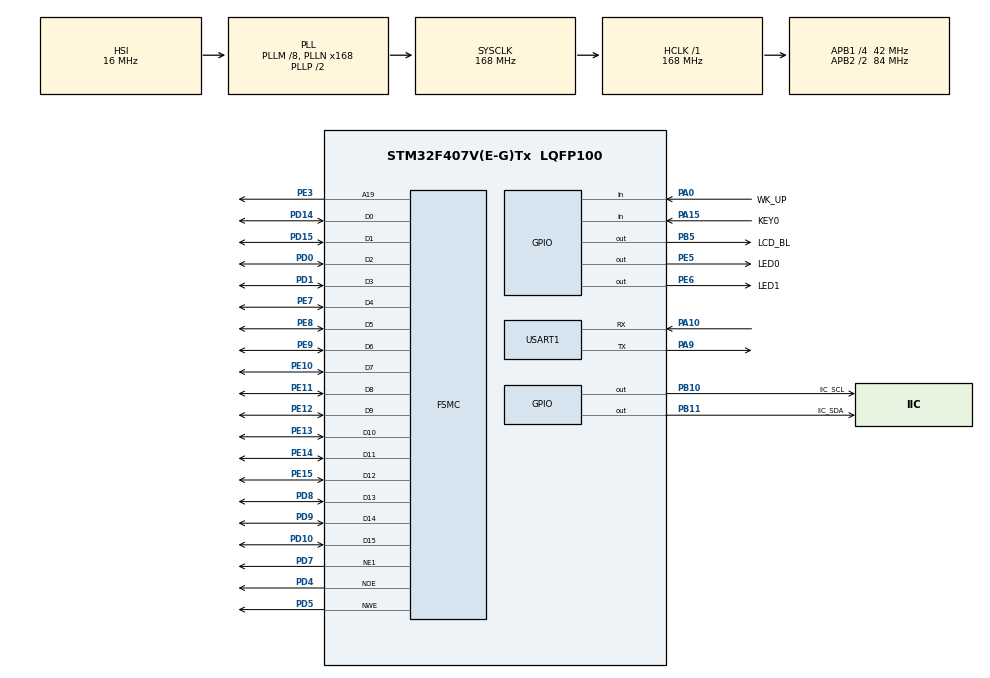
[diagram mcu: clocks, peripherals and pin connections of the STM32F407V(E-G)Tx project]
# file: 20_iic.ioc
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FSMC.AddressSetupTime1=15
FSMC.BusTurnAroundDuration1=0
FSMC.DataSetupTime1=60
FSMC.ExtendedAddressSetupTime1=9
FSMC.ExtendedDataSetupTime1=9
FSMC.ExtendedMode1=FSMC_EXTENDED_MODE_ENABLE
Mcu.Family=STM32F4
Mcu.Name=STM32F407V(E-G)Tx
Mcu.Package=LQFP100
NVIC.PriorityGroup=NVIC_PRIORITYGROUP_2
NVIC.USART1_IRQn=true\:2\:2\:true\:false\:true\:true\:true\:true
PA0-WKUP.GPIO_Label=WK_UP
PA0-WKUP.GPIO_PuPd=GPIO_PULLDOWN
PA0-WKUP.Signal=GPIO_Input
PA10.Mode=Asynchronous
PA10.Signal=USART1_RX
PA13.Mode=Serial_Wire
PA13.Signal=SYS_JTMS-SWDIO
PA14.Mode=Serial_Wire
PA14.Signal=SYS_JTCK-SWCLK
PA15.GPIO_Label=KEY0
PA15.GPIO_PuPd=GPIO_PULLDOWN
PA15.Signal=GPIO_Input
PA9.Mode=Asynchronous
PA9.Signal=USART1_TX
PB10.GPIO_Label=IIC_SCL
PB10.GPIO_ModeDefaultOutputPP=GPIO_MODE_OUTPUT_OD
PB10.GPIO_PuPd=GPIO_PULLUP
PB10.GPIO_Speed=GPIO_SPEED_FREQ_HIGH
PB10.PinState=GPIO_PIN_SET
PB10.Signal=GPIO_Output
PB11.GPIO_Label=IIC_SDA
PB11.GPIO_ModeDefaultOutputPP=GPIO_MODE_OUTPUT_OD
PB11.GPIO_PuPd=GPIO_PULLUP
PB11.GPIO_Speed=GPIO_SPEED_FREQ_HIGH
PB11.PinState=GPIO_PIN_SET
PB11.Signal=GPIO_Output
PB5.GPIO_Label=LCD_BL
PB5.GPIO_PuPd=GPIO_PULLUP
PB5.GPIO_Speed=GPIO_SPEED_FREQ_HIGH
PB5.PinState=GPIO_PIN_SET
PB5.Signal=GPIO_Output
PC14-OSC32_IN.Mode=LSE-External-Oscillator
PC14-OSC32_IN.Signal=RCC_OSC32_IN
PC15-OSC32_OUT.Mode=LSE-External-Oscillator
PC15-OSC32_OUT.Signal=RCC_OSC32_OUT
PD0.Mode=16b-d1
PD0.Signal=FSMC_D2
PD1.Mode=16b-d1
PD1.Signal=FSMC_D3
PD10.Mode=16b-d1
PD10.Signal=FSMC_D15
PD14.Mode=16b-d1
PD14.Signal=FSMC_D0
PD15.Mode=16b-d1
PD15.Signal=FSMC_D1
PD4.Mode=Lcd1
PD4.Signal=FSMC_NOE
PD5.Mode=Lcd1
PD5.Signal=FSMC_NWE
PD7.Mode=NorPsramChipSelect1_1
PD7.Signal=FSMC_NE1
PD8.Mode=16b-d1
PD8.Signal=FSMC_D13
PD9.Mode=16b-d1
PD9.Signal=FSMC_D14
PE10.Mode=16b-d1
PE10.Signal=FSMC_D7
PE11.Mode=16b-d1
PE11.Signal=FSMC_D8
PE12.Mode=16b-d1
PE12.Signal=FSMC_D9
PE13.Mode=16b-d1
PE13.Signal=FSMC_D10
PE14.Mode=16b-d1
PE14.Signal=FSMC_D11
PE15.Mode=16b-d1
PE15.Signal=FSMC_D12
PE3.Mode=A19_1
PE3.Signal=FSMC_A19
PE5.GPIO_Label=LED0
PE5.GPIO_PuPd=GPIO_PULLUP
PE5.GPIO_Speed=GPIO_SPEED_FREQ_HIGH
PE5.PinState=GPIO_PIN_SET
PE5.Signal=GPIO_Output
PE6.GPIO_Label=LED1
PE6.GPIO_PuPd=GPIO_PULLUP
PE6.GPIO_Speed=GPIO_SPEED_FREQ_HIGH
PE6.PinState=GPIO_PIN_SET
PE6.Signal=GPIO_Output
PE7.Mode=16b-d1
PE7.Signal=FSMC_D4
PE8.Mode=16b-d1
PE8.Signal=FSMC_D5
PE9.Mode=16b-d1
PE9.Signal=FSMC_D6
PH0-OSC_IN.Mode=HSE-External-Oscillator
PH0-OSC_IN.Signal=RCC_OSC_IN
PH1-OSC_OUT.Mode=HSE-External-Oscillator
PH1-OSC_OUT.Signal=RCC_OSC_OUT
ProjectManager.HeapSize=0x200
ProjectManager.StackSize=0x400
ProjectManager.TargetToolchain=STM32CubeIDE
RCC.48MHZClocksFreq_Value=84000000
RCC.AHBFreq_Value=168000000
RCC.APB1CLKDivider=RCC_HCLK_DIV4
RCC.APB1Freq_Value=42000000
RCC.APB1TimFreq_Value=84000000
RCC.APB2CLKDivider=RCC_HCLK_DIV2
RCC.APB2Freq_Value=84000000
RCC.APB2TimFreq_Value=168000000
RCC.CortexFreq_Value=168000000
RCC.HCLKFreq_Value=168000000
RCC.HSE_VALUE=25000000
RCC.HSI_VALUE=16000000
RCC.PLLM=8
RCC.PLLN=168
RCC.SYSCLKFreq_VALUE=168000000
RCC.SYSCLKSource=RCC_SYSCLKSOURCE_PLLCLK
RCC.VCOOutputFreq_Value=336000000
USART1.VirtualMode=VM_ASYNC
board=custom

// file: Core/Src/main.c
/**
 ****************************************************************************************************
 * @file        main.c
 * @author      ALIENTEK
 * @brief       iic code
 * @license     Copyright (C) 2012-2024, ALIENTEK
 ****************************************************************************************************
 * @attention
 *
 * platform     : ALIENTEK M100-STM32F407 board
 * website      : www.alientek.com
 * forum        : www.openedv.com/forum.php
 *
 * change logs  :
 * version      data         notes
 * V1.0         20240409     the first version
 *
 ****************************************************************************************************
 */

 /* USER CODE BEGIN Header */

/* USER CODE END Header */
#include "main.h"
#include "usart.h"
#include "gpio.h"
#include "fsmc.h"

/* USER CODE BEGIN Includes */
#include "../../BSP/IIC/myiic.h"
#include "../../BSP/24CXX/24cxx.h"
#include "../../BSP/LED/led.h"
#include "../../BSP/KEY/key.h"
#include "../../BSP/LCD/lcd.h"
#include "../../BSP/DELAY/delay.h"
/* USER CODE END Includes */

/* USER CODE BEGIN PTD */
/* An array of strings to write to 24c02 */
const uint8_t g_text_buf[] = {"STM32 IIC TEST"};
#define TEXT_SIZE       sizeof(g_text_buf)  /* TEXT String length */
/* USER CODE END PTD */

/* USER CODE BEGIN PD */
/**
 * @brief   Displays information about the experiment
 * @param   None
 * @retval  None
 */
void stm32f407vg_show_mesg(void)
{
	/* The serial port outputs the experimental information */
	printf("\n");
	printf("********************************\r\n");
	printf("STM32F407\r\n");
	printf("IIC Test\r\n");
	printf("ATOM@ALIENTEK\r\n");
	printf("********************************\r\n");
	printf("\r\n");
}
/* USER CODE END PD */

void SystemClock_Config(void);

int main(void)
{
  /* USER CODE BEGIN 1 */
  uint8_t key;
  uint16_t i = 0;
  uint8_t datatemp[TEXT_SIZE];
  /* USER CODE END 1 */

  /* MCU Configuration--------------------------------------------------------*/

  /* Reset of all peripherals, Initializes the Flash interface and the Systick. */
  HAL_Init();

  /* USER CODE BEGIN Init */
  delay_init(168);
  /* USER CODE END Init */

  /* Configure the system clock */
  SystemClock_Config();

  /* Initialize all configured peripherals */
  MX_GPIO_Init();
  MX_USART1_UART_Init();
  MX_FSMC_Init();
  /* USER CODE BEGIN 2 */
  lcd_init();                           /* Initialize LCD */
  at24cxx_init();                       /* Initialize 24CXX */
  stm32f407vg_show_mesg();

  lcd_show_string(30, 50, 200, 16, 16, "STM32", RED);
  lcd_show_string(30, 70, 200, 16, 16, "IIC TEST", RED);
  lcd_show_string(30, 90, 200, 16, 16, "ATOM@ALIENTEK", RED);
  lcd_show_string(30, 110, 200, 16, 16, "WKUP:Write  KEY0:Read", RED);

  /* Display prompt information */
  while (at24cxx_check() != 0)/* No 24c02 was detected */
  {
      lcd_show_string(30, 130, 200, 16, 16, "24C02 Check Failed!", RED);
      HAL_Delay(500);
      lcd_show_string(30, 130, 200, 16, 16, "Please Check!      ", RED);
      HAL_Delay(500);
      LED1_TOGGLE();
  }

  lcd_show_string(30, 130, 200, 16, 16, "24C02 Ready!", RED);
  /* USER CODE END 2 */

  /* Infinite loop */
  /* USER CODE BEGIN WHILE */
  while (1)
  {
	  key = key_scan(0);

	  if (key == WKUP_PRES)   /* WKUP is pressed and 24C02 is written */
	  {
	  	  lcd_fill(0, 150, 239, 319, WHITE);  /* Clear half screen */
	  	  lcd_show_string(30, 150, 200, 16, 16, "Start Write 24C02....", BLUE);
	  	  at24cxx_write(0, (uint8_t *)g_text_buf, TEXT_SIZE);
	  	  lcd_show_string(30, 150, 200, 16, 16, "24C02 Write Finished!", BLUE);   /* Prompt transmission completed */
	  }

	  if (key == KEY0_PRES)   /* KEY0 is pressed to read the string and display it */
	  {
	  	  lcd_show_string(30, 150, 200, 16, 16, "Start Read 24C02.... ", BLUE);
	  	  at24cxx_read(0, datatemp, TEXT_SIZE);
	  	  lcd_show_string(30, 150, 200, 16, 16, "The Data Readed Is:  ", BLUE);
	  	  lcd_show_string(30, 170, 200, 16, 16, (char *)datatemp, BLUE);          /* Displays the string read */
	  }

	  i++;
      if (i == 20)
      {
    	  LED0_TOGGLE();         /* flashing LED0 indicates that the system is running */
    	  i = 0;
      }
      HAL_Delay(10);             /* delay 10ms */
    /* USER CODE END WHILE */

  }
}

void SystemClock_Config(void)
{
  RCC_OscInitTypeDef RCC_OscInitStruct = {0};
  RCC_ClkInitTypeDef RCC_ClkInitStruct = {0};

  /** Configure the main internal regulator output voltage
  */
  __HAL_RCC_PWR_CLK_ENABLE();
  __HAL_PWR_VOLTAGESCALING_CONFIG(PWR_REGULATOR_VOLTAGE_SCALE1);

  /** Initializes the RCC Oscillators according to the specified parameters
  * in the RCC_OscInitTypeDef structure.
  */
  RCC_OscInitStruct.OscillatorType = RCC_OSCILLATORTYPE_HSI;
  RCC_OscInitStruct.HSIState = RCC_HSI_ON;
  RCC_OscInitStruct.HSICalibrationValue = RCC_HSICALIBRATION_DEFAULT;
  RCC_OscInitStruct.PLL.PLLState = RCC_PLL_ON;
  RCC_OscInitStruct.PLL.PLLSource = RCC_PLLSOURCE_HSI;
  RCC_OscInitStruct.PLL.PLLM = 8;
  RCC_OscInitStruct.PLL.PLLN = 168;
  RCC_OscInitStruct.PLL.PLLP = RCC_PLLP_DIV2;
  RCC_OscInitStruct.PLL.PLLQ = 4;
  if (HAL_RCC_OscConfig(&RCC_OscInitStruct) != HAL_OK)
  {
    Error_Handler();
  }

  /** Initializes the CPU, AHB and APB buses clocks
  */
  RCC_ClkInitStruct.ClockType = RCC_CLOCKTYPE_HCLK|RCC_CLOCKTYPE_SYSCLK
                              |RCC_CLOCKTYPE_PCLK1|RCC_CLOCKTYPE_PCLK2;
  RCC_ClkInitStruct.SYSCLKSource = RCC_SYSCLKSOURCE_PLLCLK;
  RCC_ClkInitStruct.AHBCLKDivider = RCC_SYSCLK_DIV1;
  RCC_ClkInitStruct.APB1CLKDivider = RCC_HCLK_DIV4;
  RCC_ClkInitStruct.APB2CLKDivider = RCC_HCLK_DIV2;

  if (HAL_RCC_ClockConfig(&RCC_ClkInitStruct, FLASH_LATENCY_5) != HAL_OK)
  {
    Error_Handler();
  }
}

void Error_Handler(void)
{
  __disable_irq();
  while (1)
  {
  }
}
